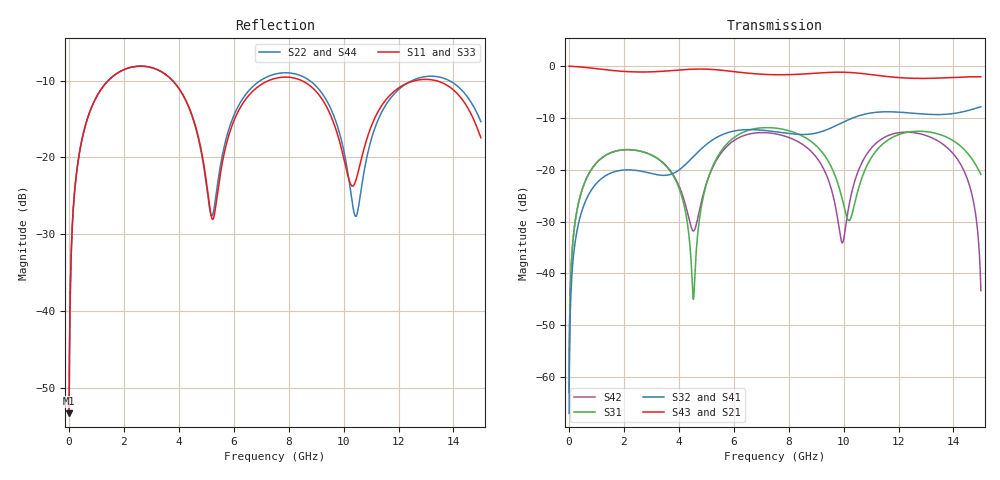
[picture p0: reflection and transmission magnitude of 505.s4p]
! Created with skrf 1.8.0 (http://scikit-rf.org).
# GHz S RI R 50.0
!freq ReS11 ImS11 ReS12 ImS12 ReS13 ImS13
! ReS14 ImS14
! ReS21 ImS21 ReS22 ImS22 ReS23 ImS23
! ReS24 ImS24
! ReS31 ImS31 ReS32 ImS32 ReS33 ImS33
! ReS34 ImS34
! ReS41 ImS41 ReS42 ImS42 ReS43 ImS43
! ReS44 ImS44
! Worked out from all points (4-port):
!   2499 points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, 5 MHz to 15 GHz, reference 50 ohm
!   strongest paths, dB at 5 MHz, 3.476 GHz, 7.19 GHz, 11.1 GHz, 15 GHz:
!     S43: 0.0, -1.0, -1.6, -1.7, -2.1
!     S21: 0.0, -1.0, -1.6, -1.7, -2.1
!     S32: -67.0, -21.1, -12.5, -9.0, -7.9
!     S41: -67.0, -21.1, -12.5, -9.0, -7.8
!     S31: -63.0, -19.0, -11.9, -17.0, -20.9
!     S42: -63.0, -18.9, -12.9, -15.3, -43.4
!   lowest |S11| = -53.3 dB at 5 MHz (marker M1), VSWR 1.00, Z = 50.2 + j0.131 ohm
!   |S11| at or under -10 dB: 3.778 GHz to 7.262 GHz (3.484 GHz wide, 63.1 % of centre); 8.482 GHz to 12.59 GHz (4.109 GHz wide, 39 % of centre); 13.37 GHz to end of sweep (the widest 3 of 4)
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0.005  0.00172 0.0013  0.9982 -0.00335  8.74e-05 0.000702  -8.47e-05 -0.000437
       0.9982 -0.00335  0.00172 0.0013  -8.47e-05 -0.000437  8.74e-05 0.000702
       8.74e-05 0.000702  -8.47e-05 -0.000437  0.00172 0.0013  0.9982 -0.00335
       -8.47e-05 -0.000437  8.74e-05 0.000702  0.9982 -0.00335  0.00172 0.0013
0.3626511  0.0328 0.0972  0.9547 -0.239  0.0161 0.047  -0.0133 -0.0286
           0.9547 -0.239  0.0328 0.0972  -0.0133 -0.0286  0.016 0.0471
           0.0161 0.047  -0.0133 -0.0286  0.0328 0.0972  0.9547 -0.239
           -0.0133 -0.0286  0.016 0.0471  0.9547 -0.239  0.0328 0.0972
1.825761  0.3321 0.1389  0.3919 -0.8047  0.1493 0.0373  -0.0959 0.0201
          0.3919 -0.8047  0.3323 0.1386  -0.0959 0.0201  0.149 0.0378
          0.1493 0.0373  -0.0959 0.0201  0.332 0.1388  0.392 -0.8047
          -0.0959 0.0201  0.149 0.0378  0.392 -0.8047  0.3322 0.1386
4.533139  0.098 -0.1474  -0.8197 -0.447  -0.00548 -0.00125  -0.0608 0.1195
          -0.8197 -0.447  0.0977 -0.1444  -0.0606 0.1196  -0.0235 -0.0101
          -0.00548 -0.00125  -0.0606 0.1196  0.0979 -0.1472  -0.8197 -0.4471
          -0.0608 0.1195  -0.0235 -0.0101  -0.8197 -0.4471  0.0976 -0.1442
8.084619  0.3301 -0.0349  -0.0123 0.8264  0.2027 -0.1178  0.2071 -0.0798
          -0.0123 0.8264  0.3492 -0.0604  0.2071 -0.0803  0.1971 -0.0389
          0.2027 -0.1178  0.2071 -0.0803  0.3265 -0.0338  -0.0129 0.8278
          0.2071 -0.0798  0.1971 -0.0389  -0.0129 0.8278  0.3457 -0.0607
10.78574  0.0935 0.0773  0.8405 -0.0413  0.035 0.094  -0.0385 -0.3424
          0.8405 -0.0413  0.0634 0.0619  -0.0393 -0.342  0.0763 0.1096
          0.035 0.094  -0.0393 -0.342  0.0951 0.0837  0.8401 -0.0416
          -0.0385 -0.3424  0.0763 0.1096  0.8401 -0.0416  0.0622 0.0685
15  0.1141 -0.0709  -0.6049 -0.5026  -0.0551 -0.0713  -0.2496 0.3193
    -0.6049 -0.5026  0.1276 -0.1141  -0.2464 0.3212  0.00347 -0.00583
    -0.0551 -0.0713  -0.2464 0.3212  0.1183 -0.059  -0.6041 -0.505
    -0.2496 0.3193  0.00347 -0.00583  -0.6041 -0.505  0.1163 -0.1136
